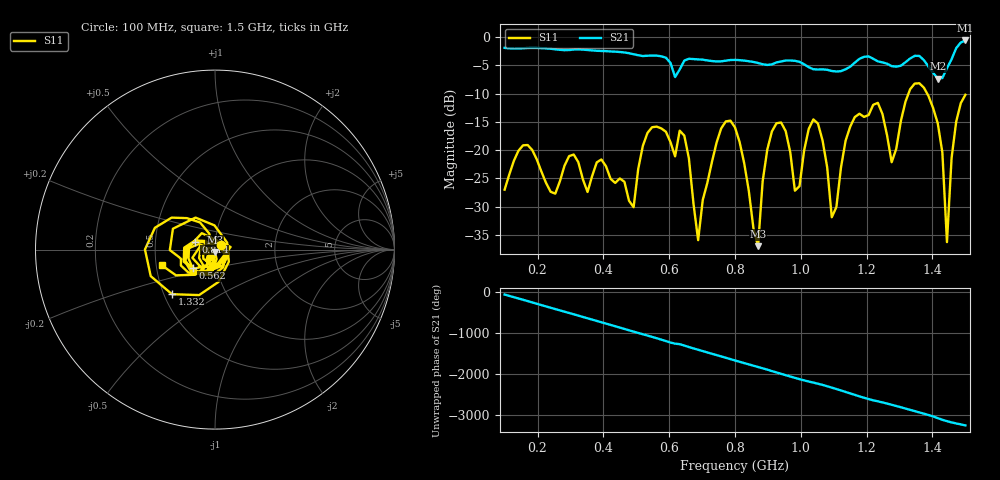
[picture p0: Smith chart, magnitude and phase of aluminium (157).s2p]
! NanoVNA-App
! Date: 2025-09-25 14:56:30
! Start: 100MHz Stop: 1,5GHz Points: 101
! S-Parameter data: F S11 S21 S12 S22
# Hz S RI R 50
!  Frequency  S11_Real  S11_Imag  S21_Real  S21_Imag  S12_Real  S12_Imag  S22_Real  S22_Imag
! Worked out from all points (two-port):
!   101 points, 100 MHz to 1.5 GHz, reference 50 ohm
!   highest |S21| = -0.61 dB at 1.5 GHz (marker M1); lowest = -7.3 dB at 1.416 GHz (marker M2)
!   |S21| within 3 dB of the highest: start of sweep to 587.5 MHz; 1.46 GHz to end of sweep (the widest 2 of 4)
!   lowest |S11| = -37.0 dB at 870 MHz (marker M3), VSWR 1.03, Z = 49.8 - j1.4 ohm
!   |S11| at or under -10 dB: start of sweep to 1.327 GHz; 1.384 GHz to end of sweep
!   S12 and S22 are empty: the file has one direction only
!   S11 on the Smith chart (normalised r, x): 100 MHz: 1.07, +0.06; 562 MHz: 0.76, -0.16; 814 MHz: 0.80, +0.07; 1.332 GHz: 0.55, -0.31; 1.5 GHz: 0.54, -0.10
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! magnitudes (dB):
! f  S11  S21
! 100 MHz  -27.0  -1.9
! 338 MHz  -25.2  -2.2
! 492 MHz  -30.1  -3.0
! 562 MHz  -15.8  -3.3
! 576 MHz  -16.2  -3.4
! 646 MHz  -17.4  -4.2
! 688 MHz  -35.9  -4.0
! 800 MHz  -16.0  -4.0
! 814 MHz  -18.6  -4.1
! 870 MHz  -37.0  -4.6
! 912 MHz  -16.7  -4.8
! 982 MHz  -27.2  -4.2
! 1.038 GHz  -14.6  -5.7
! 1.094 GHz  -31.9  -6.0
! 1.164 GHz  -14.2  -4.5
! 1.234 GHz  -11.6  -4.3
! 1.276 GHz  -22.1  -5.2
! 1.332 GHz  -9.2  -3.8
! 1.416 GHz  -15.2  -7.3
! 1.444 GHz  -36.3  -5.5
! 1.458 GHz  -21.4  -3.9
! 1.5 GHz  -10.2  -0.6
